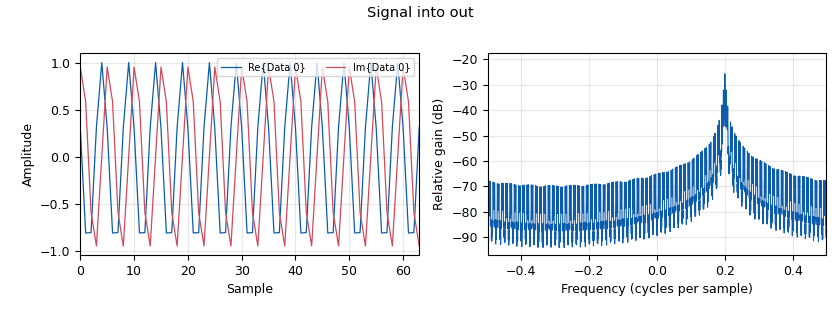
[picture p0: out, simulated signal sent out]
options:
  parameters:
    author: ECE 448
    category: '[ECE 448]'
    description: 'L17: OOK pulse encoder hier block, as in 2025: Vector Source, Map, Unpack K Bits, Repeat, Stream Mux, and a Multiply with a Signal Source. It repeats one frame of bits as chip patterns with a gap, on a carrier at the offset. Press Generate once to install it as L17 OOK Encoder. It transmits nothing by itself.'
    generate_options: hb
    id: L17_ook_encoder
    output_language: python
    title: L17 OOK Encoder
  states: {}

blocks:
- name: bits
  id: parameter
  parameters:
    label: Bits of one frame
    value: '[1, 0, 1, 0, 0, 1, 1, 0, 0, 0, 0, 1, 1, 1, 1, 0]'
  states: {}
- name: c2f
  id: blocks_char_to_float
  parameters:
    scale: '1'
  states: {}
- name: carrier
  id: analog_sig_source_x
  parameters:
    amp: '1'
    freq: offset
    offset: '0'
    phase: '0'
    samp_rate: samp_rate
    type: complex
    waveform: analog.GR_COS_WAVE
  states: {}
- name: chip_len
  id: parameter
  parameters:
    label: Samples per chip
    type: intx
    value: '80'
  states: {}
- name: chip_map
  id: digital_map_bb
  parameters:
    map: pattern
  states: {}
- name: chips_per_bit
  id: parameter
  parameters:
    label: Chips per bit
    type: intx
    value: '3'
  states: {}
- name: f2c
  id: blocks_float_to_complex
  parameters: {}
  states: {}
- name: gap_chips
  id: parameter
  parameters:
    label: Gap after each frame (chips)
    type: intx
    value: '30'
  states: {}
- name: mult
  id: blocks_multiply_xx
  parameters:
    type: complex
  states: {}
- name: mux
  id: blocks_stream_mux
  parameters:
    lengths: '[len(bits)*chips_per_bit*chip_len, gap_chips*chip_len]'
    type: float
  states: {}
- name: offset
  id: parameter
  parameters:
    label: Carrier offset (Hz)
    type: eng_float
    value: 40e3
  states: {}
- name: out
  id: pad_sink
  parameters:
    type: complex
  states: {}
- name: pattern
  id: parameter
  parameters:
    label: Chip pattern for 0 and 1
    value: '[4, 6]'
  states: {}
- name: rep
  id: blocks_repeat
  parameters:
    interp: chip_len
    type: float
  states: {}
- name: samp_rate
  id: parameter
  parameters:
    label: Sample rate
    type: eng_float
    value: 200e3
  states: {}
- name: unpack
  id: blocks_unpack_k_bits_bb
  parameters:
    k: chips_per_bit
  states: {}
- name: vsrc
  id: blocks_vector_source_x
  parameters:
    repeat: 'True'
    type: byte
    vector: bits
  states: {}
- name: zero
  id: analog_const_source_x
  parameters:
    const: '0'
    type: float
  states: {}

connections:
- [c2f, '0', rep, '0']
- [carrier, '0', mult, '1']
- [chip_map, '0', unpack, '0']
- [f2c, '0', mult, '0']
- [mult, '0', out, '0']
- [mux, '0', f2c, '0']
- [rep, '0', mux, '0']
- [unpack, '0', c2f, '0']
- [vsrc, '0', chip_map, '0']
- [zero, '0', mux, '1']

metadata:
  file_format: 1
  grc_version: 3.10.9.2
